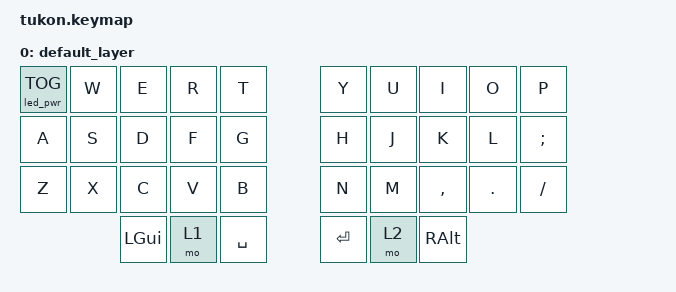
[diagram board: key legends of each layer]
#include <behaviors.dtsi>
#include <dt-bindings/zmk/keys.h>
#include <dt-bindings/zmk/bt.h>
#include <dt-bindings/zmk/ext_power.h>

/ {
        behaviors {
        // Behavior can be invoked on peripherals, so name must be <= 8 characters.
        led_pwr: ledpwr {
            compatible = "zmk,behavior-ext-power";
            #binding-cells = <1>;
            power-node-name = "RGB_PWR";
        };
    };
        keymap {
                compatible = "zmk,keymap";

                default_layer {
// -----------------------------------------------------------------------------------------
// |  Q  |  W  |  E  |  R  |  T  |   |  Y  |  U   |  I  |  O  |  P  |
// |  A  |  S  |  D  |  F  |  G  |   |  H  |  J   |  K  |  L  |  ;  |
// |  Z  |  X  |  C  |  V  |  B  |   |  N  |  M   |  ,  |  .  |  /  |
//             | GUI | LWR | SPC |   | ENT | RSE  | ALT |
                        bindings = <
   &led_pwr EP_TOG &kp W &kp E &kp R &kp T   &kp Y &kp U  &kp I     &kp O   &kp P   
   &kp A &kp S &kp D &kp F &kp G   &kp H &kp J  &kp K     &kp L   &kp SEMI
   &kp Z &kp X &kp C &kp V &kp B   &kp N &kp M  &kp COMMA &kp DOT &kp FSLH
        &kp LGUI &mo 1 &kp SPACE   &kp RET &mo 2 &kp RALT
                        >;
                };
        };
};
